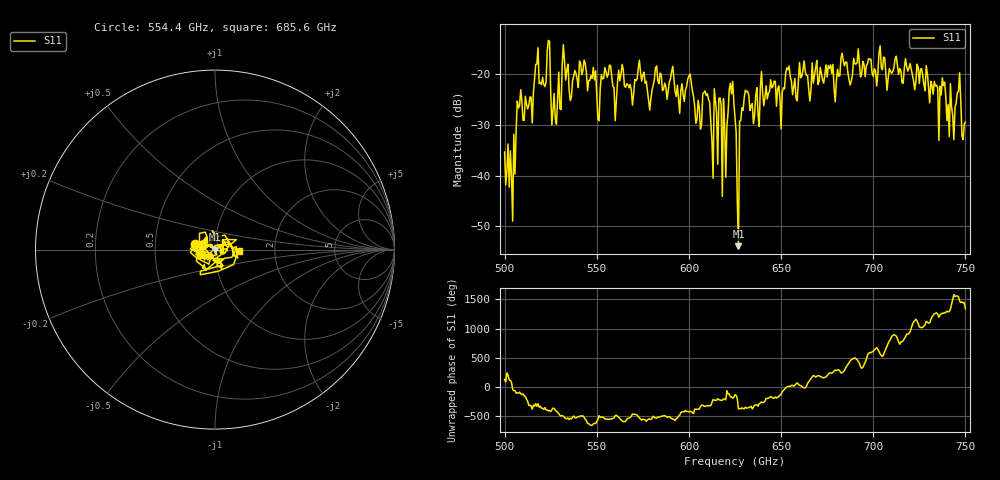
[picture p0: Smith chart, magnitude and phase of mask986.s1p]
!Created with skrf (http://scikit-rf.org).
# GHz S MA R 50.0
!freq magS11 angS11
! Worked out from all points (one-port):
!   401 points, 500 GHz to 750 GHz, reference 50 ohm
!   lowest |S11| = -53.9 dB at 626.9 GHz (marker M1), VSWR 1.00, Z = 50.2 - j0.075 ohm
!   |S11| at or under -10 dB: start of sweep to end of sweep
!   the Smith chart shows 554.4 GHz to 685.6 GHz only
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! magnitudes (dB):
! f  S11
! 500 GHz  -35.3
! 504.4 GHz  -49.0
! 508.1 GHz  -26.1
! 513.8 GHz  -24.5
! 517.5 GHz  -18.0
! 523.8 GHz  -13.3
! 526.9 GHz  -23.8
! 531.2 GHz  -18.1
! 542.5 GHz  -19.2
! 551.2 GHz  -29.2
! 562.5 GHz  -21.3
! 593.8 GHz  -22.1
! 605.6 GHz  -26.6
! 609.4 GHz  -24.2
! 611.9 GHz  -29.3
! 616.2 GHz  -24.7
! 619.4 GHz  -30.1
! 623.1 GHz  -23.8
! 625 GHz  -28.6
! 626.9 GHz  -53.9
! 628.8 GHz  -26.6
! 631.2 GHz  -23.4
! 656.2 GHz  -24.0
! 687.5 GHz  -22.1
! 718.8 GHz  -19.4
! 742.5 GHz  -26.5
! 746.2 GHz  -23.4
! 750 GHz  -29.4
